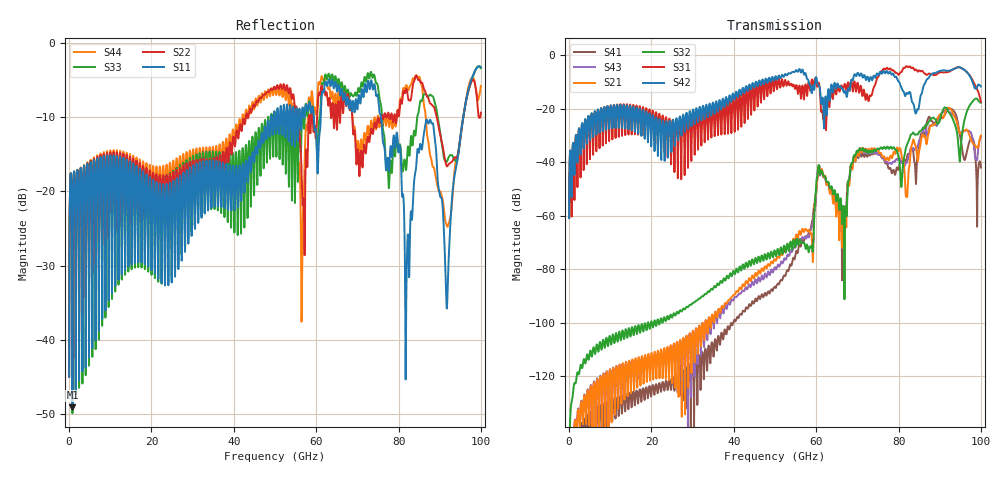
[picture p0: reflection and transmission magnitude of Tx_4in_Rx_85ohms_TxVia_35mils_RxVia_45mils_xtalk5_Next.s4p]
! Info: Touchstone file created by Circ.  Input file=Tx_4in_Rx_85ohms_TxVia_35mils_RxVia_45mils.circ
# Hz S RI R 50
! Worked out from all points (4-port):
!   10000 points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, 10 MHz to 100 GHz, reference 50 ohm
!   strongest paths, dB at 10 MHz, 25.01 GHz, 50.01 GHz, 75.01 GHz, 100 GHz:
!     S42: -60.9, -28.3, -8.1, -7.1, -11.6
!     S31: -60.9, -25.8, -9.4, -8.1, -17.4
!     S32: -162.1, -98.1, -73.4, -34.9, -17.7
!     S21: -175.3, -120.9, -76.4, -35.4, -30.0
!     S43: -175.2, -116.4, -79.3, -36.9, -30.6
!     S41: -180.4, -121.6, -86.6, -36.7, -41.9
!   lowest |S11| = -49.1 dB at 810 MHz (marker M1), VSWR 1.01, Z = 49.7 - j0.0461 ohm
!   |S11| at or under -10 dB: start of sweep to 48.99 GHz; 59.41 GHz to 61.12 GHz (1.707 GHz wide, 2.83 % of centre); 75.74 GHz to 95.74 GHz (20 GHz wide, 23.3 % of centre) (the widest 3 of 14)
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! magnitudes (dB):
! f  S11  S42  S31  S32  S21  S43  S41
! 10 MHz  -44.9  -60.9  -60.9  -162.1  -175.3  -175.2  -180.4
! 810 MHz  -49.1  -35.5  -35.5  -128.4  -142.6  -142.5  -148.3
! 58.73 GHz  -9.2  -12.3  -11.1  -71.5  -66.5  -65.2  -64.2
! 60.82 GHz  -12.2  -11.7  -11.8  -42.5  -42.1  -42.8  -42.8
! 66.55 GHz  -7.7  -12.9  -12.9  -56.4  -60.8  -61.7  -61.9
! 91.75 GHz  -35.7  -5.8  -6.3  -20.0  -19.7  -20.5  -20.6
! 100 GHz  -3.3  -11.6  -17.4  -17.7  -30.0  -30.6  -41.9
